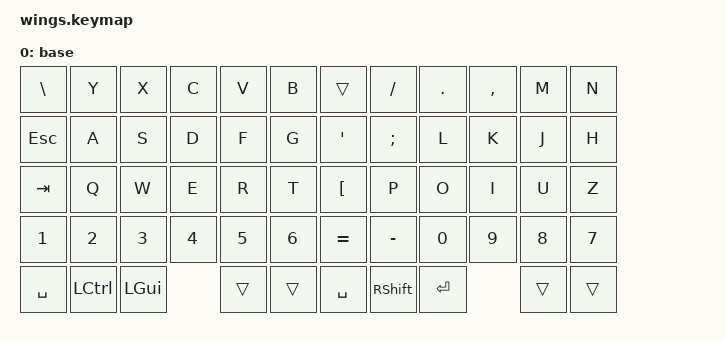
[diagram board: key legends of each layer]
// use https://nickcoutsos.github.io/keymap-editor/

#include <behaviors.dtsi>
#include <dt-bindings/zmk/keys.h>

/ {
    keymap {
        compatible = "zmk,keymap";

        base {
            bindings = <
&kp BSLH   &kp Y      &kp X     &kp C   &kp V   &kp B   &trans     &kp FSLH   &kp DOT  &kp COMMA  &kp M   &kp N
&kp ESC    &kp A      &kp S     &kp D   &kp F   &kp G   &kp SQT    &kp SEMI   &kp L    &kp K      &kp J   &kp H
&kp TAB    &kp Q      &kp W     &kp E   &kp R   &kp T   &kp LBKT   &kp P      &kp O    &kp I      &kp U   &kp Z
&kp N1     &kp N2     &kp N3    &kp N4  &kp N5  &kp N6  &kp EQUAL  &kp MINUS  &kp N0   &kp N9     &kp N8  &kp N7
&kp SPACE  &kp LCTRL  &kp LGUI          &trans  &trans  &kp SPACE  &kp RSHFT  &kp RET             &trans  &trans
            >;
        };
    };
};
